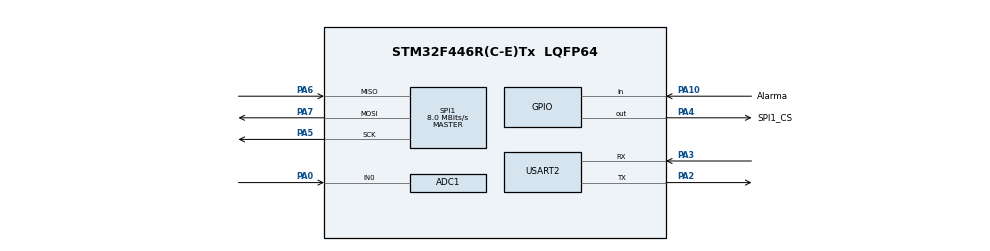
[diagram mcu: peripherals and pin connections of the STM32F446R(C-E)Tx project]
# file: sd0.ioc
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ADC1.Channel-0\#ChannelRegularConversion=ADC_CHANNEL_0
ADC1.NbrOfConversionFlag=1
ADC1.Rank-0\#ChannelRegularConversion=1
ADC1.SamplingTime-0\#ChannelRegularConversion=ADC_SAMPLETIME_3CYCLES
ADC1.master=1
FATFS._MAX_SS=4096
FATFS._USE_LFN=1
Mcu.Family=STM32F4
Mcu.Name=STM32F446R(C-E)Tx
Mcu.Package=LQFP64
NVIC.PriorityGroup=NVIC_PRIORITYGROUP_4
PA0-WKUP.Signal=ADCx_IN0
PA10.GPIO_Label=Alarma
PA10.Signal=GPIO_Input
PA2.Mode=Asynchronous
PA2.Signal=USART2_TX
PA3.Mode=Asynchronous
PA3.Signal=USART2_RX
PA4.GPIO_Label=SPI1_CS
PA4.GPIO_PuPd=GPIO_PULLUP
PA4.Signal=GPIO_Output
PA5.Mode=Full_Duplex_Master
PA5.Signal=SPI1_SCK
PA6.Mode=Full_Duplex_Master
PA6.Signal=SPI1_MISO
PA7.Mode=Full_Duplex_Master
PA7.Signal=SPI1_MOSI
ProjectManager.HeapSize=0x200
ProjectManager.StackSize=0x400
ProjectManager.TargetToolchain=STM32CubeIDE
RCC.CortexFreq_Value=16000000
RCC.USBFreq_Value=96000000
RCC.VCOOutputFreq_Value=192000000
SH.ADCx_IN0.0=ADC1_IN0,IN0
SPI1.CalculateBaudRate=8.0 MBits/s
SPI1.Direction=SPI_DIRECTION_2LINES
SPI1.Mode=SPI_MODE_MASTER
SPI1.VirtualType=VM_MASTER
USART2.VirtualMode=VM_ASYNC
VP_FATFS_VS_Generic.Mode=User_defined
board=custom

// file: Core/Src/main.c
#include "main.h"
#include "adc.h"
#include "fatfs.h"
#include "spi.h"
#include "usart.h"
#include "gpio.h"
#include <stdbool.h>
#include <stdio.h>
#include <string.h>
#include <math.h>

uint32_t adc_mq;
char msg[30];
float MQ;
float Rs;
float ppm;
float R0=8800.0f;
int ppm_node;

void SystemClock_Config(void);
void SD_Card_Test(void);
int __io_putchar(int ch);
void ppm_dat(void);

int main(void)
{

  HAL_Init();
  SystemClock_Config();
  MX_GPIO_Init();
  MX_ADC1_Init();
  MX_SPI1_Init();
  MX_USART2_UART_Init();
  MX_FATFS_Init();

  ppm_dat();
  HAL_Delay(1000);
  SD_Card_Test();

  while (1) {

  }

}

void SystemClock_Config(void)
{
  RCC_OscInitTypeDef RCC_OscInitStruct = {0};
  RCC_ClkInitTypeDef RCC_ClkInitStruct = {0};

  /** Configure the main internal regulator output voltage
  */
  __HAL_RCC_PWR_CLK_ENABLE();
  __HAL_PWR_VOLTAGESCALING_CONFIG(PWR_REGULATOR_VOLTAGE_SCALE3);

  /** Initializes the RCC Oscillators according to the specified parameters
  * in the RCC_OscInitTypeDef structure.
  */
  RCC_OscInitStruct.OscillatorType = RCC_OSCILLATORTYPE_HSI;
  RCC_OscInitStruct.HSIState = RCC_HSI_ON;
  RCC_OscInitStruct.HSICalibrationValue = RCC_HSICALIBRATION_DEFAULT;
  RCC_OscInitStruct.PLL.PLLState = RCC_PLL_NONE;
  if (HAL_RCC_OscConfig(&RCC_OscInitStruct) != HAL_OK)
  {
    Error_Handler();
  }

  /** Initializes the CPU, AHB and APB buses clocks
  */
  RCC_ClkInitStruct.ClockType = RCC_CLOCKTYPE_HCLK|RCC_CLOCKTYPE_SYSCLK
                              |RCC_CLOCKTYPE_PCLK1|RCC_CLOCKTYPE_PCLK2;
  RCC_ClkInitStruct.SYSCLKSource = RCC_SYSCLKSOURCE_HSI;
  RCC_ClkInitStruct.AHBCLKDivider = RCC_SYSCLK_DIV1;
  RCC_ClkInitStruct.APB1CLKDivider = RCC_HCLK_DIV1;
  RCC_ClkInitStruct.APB2CLKDivider = RCC_HCLK_DIV1;

  if (HAL_RCC_ClockConfig(&RCC_ClkInitStruct, FLASH_LATENCY_0) != HAL_OK)
  {
    Error_Handler();
  }
}

/* USER CODE BEGIN 4 */
void SD_Card_Test(void){

	printf("Start FATFS System\n");
    FATFS FatFs;        // FAT file system object (required by FatFs)
    FIL Fil;            // File object (used to open/read/write files)
    FRESULT FR_Status;  // Stores return status of FatFs functions
    UINT WWC;      // RWC = Read byte count, WWC = Written byte count
    char RW_Buffer[200]; // Buffer used for both read and write operations

    FR_Status = f_mount(&FatFs, "", 1);
    if (FR_Status != FR_OK)
    {

        printf("[ERROR] SD Card mount failed! Code = %d\r\n", FR_Status);
        return;
    }

    printf("[INFO] SD Card mounted successfully\r\n\n");

    FR_Status = f_open(&Fil,
                       "STM_FILE.txt",
                       FA_OPEN_EXISTING | FA_WRITE);
    if (FR_Status != FR_OK)
    {
        printf("[ERROR] File open for update failed\r\n");
        return;
    }

    f_lseek(&Fil, f_size(&Fil));

    snprintf(RW_Buffer, sizeof(RW_Buffer), "[SD] Dato ppm: %d\r\n", ppm_node);

    f_write(&Fil, RW_Buffer, strlen(RW_Buffer), &WWC);
    printf("[SD] Appended new data to file\r\n");

    f_close(&Fil);

    FR_Status = f_mount(NULL, "", 0);
    if (FR_Status != FR_OK)
        printf("[ERROR] SD Card unmount failed! Code = %d\r\n", FR_Status);
    else
        printf("[INFO] SD Card unmounted safely\r\n");
}

int __io_putchar(int ch)
{
	HAL_UART_Transmit(&huart2, (uint8_t *)&ch, 1, HAL_MAX_DELAY);
	return ch;
}

void ppm_dat(void){
	  int len;

	  HAL_ADC_Start(&hadc1);
		 	  if(HAL_ADC_PollForConversion(&hadc1, 10)==HAL_OK){
		 	  adc_mq= HAL_ADC_GetValue(&hadc1);
		 	  MQ = 2* adc_mq * 3.3 / 4095.0;
		 	  Rs = ((5.0 / MQ) - 1.0f) * 1000.0;
		 	  ppm = 600.0 * pow(Rs/R0, -2.2f);//Constantes p/ Alcohol (Etanol)
		 	  ppm_node = (int)(ppm + 0.5);
       	     len = sprintf(msg, "ppm: %d\r\n",ppm_node);
		     HAL_UART_Transmit(&huart2, (uint8_t*)msg, len, 100);
		 	  }
}
/* USER CODE END 4 */

void Error_Handler(void)
{
  __disable_irq();
  while (1)
  {
  }
}
